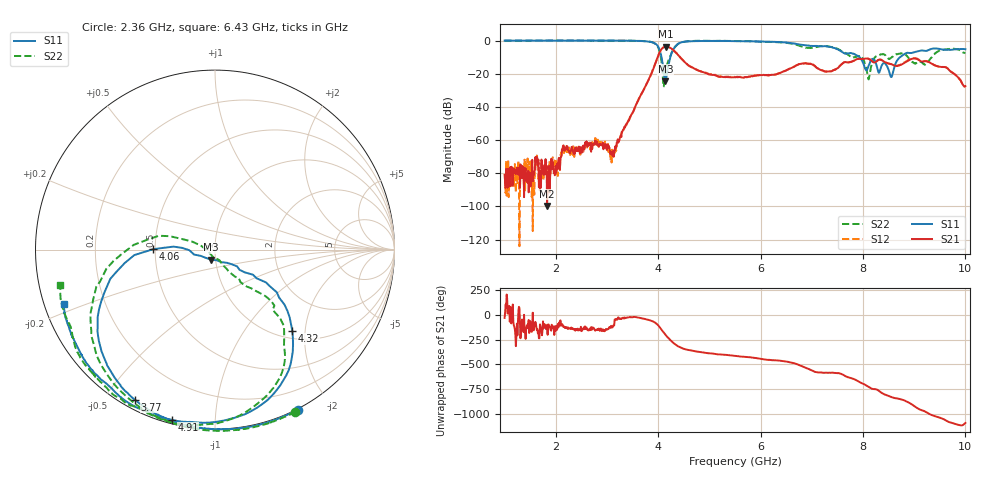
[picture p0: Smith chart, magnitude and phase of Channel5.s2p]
!Agilent Technologies,N5227A,US51270477,A.10.00.00
!File generated by LCAF-GAM-UPV software
!josevmart@iteam.upv.es
!S2P File: Measurements: S11, S21, S12, S22:
# Hz S  dB  R 50
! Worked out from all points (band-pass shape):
!   901 points, 1 GHz to 10 GHz, reference 50 ohm
!   highest |S21| = -3.69 dB at 4.15 GHz (marker M1); lowest = -99.7 dB at 1.83 GHz (marker M2)
!   |S21| within 3 dB of the highest: 4.035 GHz to 4.326 GHz (291.1 MHz wide, 6.96 % of centre)
!   lowest |S11| = -24.5 dB at 4.14 GHz (marker M3), VSWR 1.13, Z = 47.6 - j5.3 ohm
!   |S11| at or under -10 dB: 4.065 GHz to 4.236 GHz (171.5 MHz wide, 4.13 % of centre); 7.934 GHz to 8.723 GHz (789.2 MHz wide, 9.48 % of centre)
!   |S22| runs from -27.8 to 0.1 dB; largest |S21 - S12| = 0.056
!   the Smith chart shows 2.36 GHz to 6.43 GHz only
!   S11 on the Smith chart (normalised r, x): 2.36 GHz: -0.01, -1.64; 3.77 GHz: 0.04, -0.60; 4.06 GHz: 0.49, +0.00; 4.32 GHz: 1.15, -1.71; 4.91 GHz: 0.02, -0.78; 6.43 GHz: 0.06, -0.17
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1e9  0.01 -26.6  -80.92 -33.8  -83.32 -114.7  0.02 -26.9
1.83e9  0.03 -48.6  -99.72 -102.4  -77.12 -119.3  0.06 -49.1
2.36e9  0.04 -62.7  -67.08 -150.8  -70.11 -144.9  0.08 -63.7
2.5e9  0.04 -66.8  -67.25 -165.7  -67.41 -160.9  0.09 -67.9
2.79e9  0.06 -74.9  -62.88 -155.7  -61.47 -166.8  0.11 -76.6
3.11e9  0.02 -85.2  -69.30 -128.0  -69.14 -142.4  0.10 -86.6
3.77e9  -0.47 -118.1  -26.18 -48.5  -26.42 -47.1  -0.37 -120.2
4e9  -3.64 -159.1  -9.22 -106.9  -9.15 -107.6  -4.22 -169.9
4.06e9  -9.27 179.7  -5.32 -147.3  -5.34 -146.3  -11.64 163.4
4.14e9  -24.53 -111.0  -3.70 159.1  -3.69 160.0  -18.35 -59.1
4.15e9  -24.29 -79.7  -3.69 152.2  -3.66 153.9  -16.78 -57.9
4.32e9  -4.08 -46.4  -6.52 66.5  -6.49 67.2  -4.02 -52.3
4.91e9  -0.19 -104.3  -19.39 -22.4  -19.27 -22.2  -0.07 -108.0
5.5e9  -0.31 -126.2  -22.08 -53.1  -21.90 -53.4  -0.22 -130.5
6.43e9  -0.96 -160.3  -18.85 -104.3  -18.86 -104.6  -1.08 -167.1
7e9  -3.20 178.8  -14.18 160.1  -14.15 160.4  -4.40 179.1
7.95e9  -10.52 125.4  -10.94 39.4  -11.02 39.3  -9.48 135.6
8.11e9  -15.01 175.1  -10.99 -4.8  -10.98 -5.5  -23.43 166.5
8.25e9  -13.42 136.0  -12.89 -27.9  -12.91 -27.6  -9.58 -170.5
8.5e9  -17.56 157.2  -13.86 -94.7  -13.79 -95.2  -10.85 157.0
9.33e9  -5.02 149.7  -13.67 76.3  -13.57 74.1  -10.36 161.8
1e10  -5.19 66.9  -27.40 -5.3  -27.33 -7.5  -7.36 65.3
